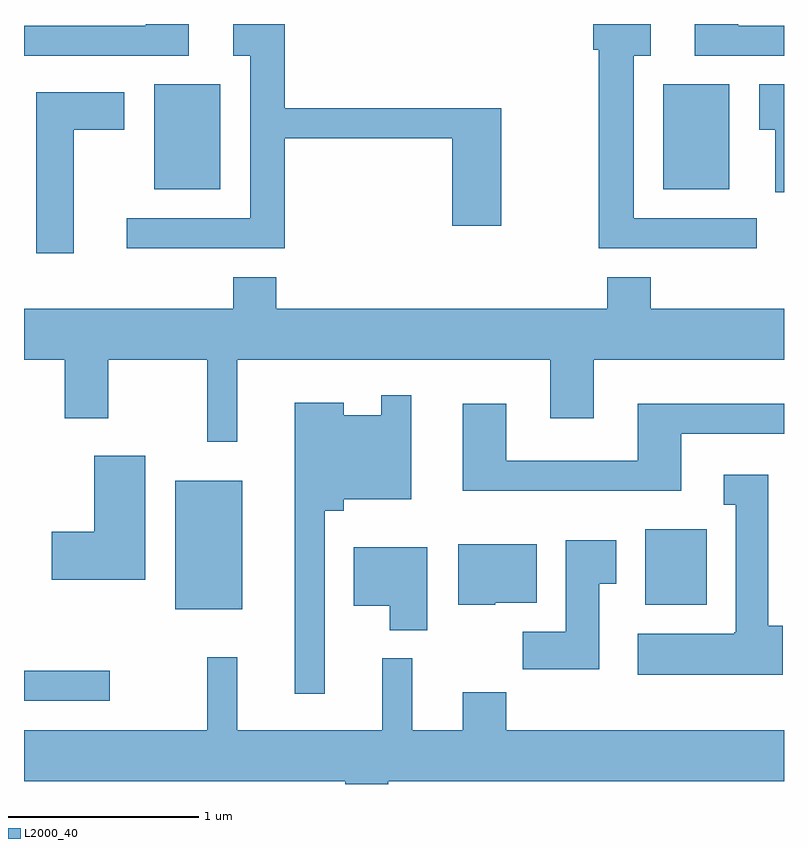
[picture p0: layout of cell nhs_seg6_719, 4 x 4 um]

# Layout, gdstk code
import gdstk
lib = gdstk.Library(unit=1e-6, precision=1e-09)
def R(c, l, rs):  # rectangles x0, y0, x1, y1
    for r in rs: c.add(gdstk.rectangle(r[:2], r[2:], *l))
def P(c, l, *ps):  # polygons
    for p in ps: c.add(gdstk.Polygon(p, *l))
L2000_40 = (2000, 40)

nhs_seg6_719 = lib.new_cell('nhs_seg6_719')
R(nhs_seg6_719, L2000_40, [(205.611,1632.601,206.063,1632.759), (206.406,1633.081,206.759,1633.759), (208.881,1633.106,209.204,1633.504), (206.296,1635.291,206.644,1635.844), (208.976,1635.291,209.324,1635.844)])
P(nhs_seg6_719, L2000_40, [(206.984,1635.561),(207.866,1635.561),(207.866,1635.101),(208.124,1635.101),(208.124,1635.719),(206.984,1635.719),(206.984,1636.162),(206.711,1636.162),(206.711,1635.996),(206.801,1635.996),(206.801,1635.139),(206.153,1635.139),(206.153,1634.981),(206.984,1634.981)],
  [(209.611,1636.154),(209.369,1636.154),(209.369,1636.162),(209.141,1636.162),(209.141,1635.996),(209.611,1635.996)],
  [(209.468,1635.139),(208.819,1635.139),(208.819,1635.996),(208.909,1635.996),(208.909,1636.162),(208.606,1636.162),(208.606,1636.026),(208.636,1636.026),(208.636,1634.981),(209.468,1634.981)],
  [(206.479,1636.162),(206.251,1636.162),(206.251,1636.154),(205.611,1636.154),(205.611,1635.996),(206.479,1635.996)],
  [(209.611,1635.844),(209.481,1635.844),(209.481,1635.606),(209.566,1635.606),(209.566,1635.276),(209.611,1635.276)],
  [(205.874,1635.606),(206.139,1635.606),(206.139,1635.804),(205.676,1635.804),(205.676,1634.956),(205.874,1634.956)],
  [(206.734,1634.396),(208.381,1634.396),(208.381,1634.086),(208.609,1634.086),(208.609,1634.396),(209.611,1634.396),(209.611,1634.664),(208.909,1634.664),(208.909,1634.829),(208.681,1634.829),(208.681,1634.664),(206.939,1634.664),(206.939,1634.829),(206.711,1634.829),(206.711,1634.664),(205.611,1634.664),(205.611,1634.396),(205.826,1634.396),(205.826,1634.086),(206.054,1634.086),(206.054,1634.396),(206.576,1634.396),(206.576,1633.963),(206.734,1633.963)],
  [(207.194,1633.601),(207.294,1633.601),(207.294,1633.661),(207.649,1633.661),(207.649,1634.208),(207.491,1634.208),(207.491,1634.104),(207.294,1634.104),(207.294,1634.169),(207.036,1634.169),(207.036,1632.638),(207.194,1632.638)],
  [(209.069,1634.006),(209.611,1634.006),(209.611,1634.164),(208.841,1634.164),(208.841,1633.864),(208.149,1633.864),(208.149,1634.164),(207.921,1634.164),(207.921,1633.706),(209.069,1633.706)],
  [(206.249,1633.889),(205.981,1633.889),(205.981,1633.489),(205.756,1633.489),(205.756,1633.236),(206.249,1633.236)],
  [(209.604,1632.994),(209.529,1632.994),(209.529,1633.789),(209.293,1633.789),(209.293,1633.631),(209.356,1633.631),(209.356,1632.96),(209.35,1632.96),(209.35,1632.954),(208.841,1632.954),(208.841,1632.736),(209.604,1632.736)],
  [(208.639,1633.216),(208.729,1633.216),(208.729,1633.444),(208.461,1633.444),(208.461,1632.964),(208.236,1632.964),(208.236,1632.766),(208.639,1632.766)],
  [(208.09,1633.116),(208.309,1633.116),(208.309,1633.424),(207.896,1633.424),(207.896,1633.106),(208.09,1633.106)],
  [(207.734,1633.409),(207.346,1633.409),(207.346,1633.101),(207.536,1633.101),(207.536,1632.971),(207.734,1632.971)],
  [(207.529,1632.176),(209.611,1632.176),(209.611,1632.444),(208.149,1632.444),(208.149,1632.644),(207.921,1632.644),(207.921,1632.444),(207.654,1632.444),(207.654,1632.823),(207.496,1632.823),(207.496,1632.444),(206.734,1632.444),(206.734,1632.828),(206.576,1632.828),(206.576,1632.444),(205.611,1632.444),(205.611,1632.176),(207.301,1632.176),(207.301,1632.162),(207.529,1632.162)])

lib.write_gds('nhs_seg6_719.gds')
